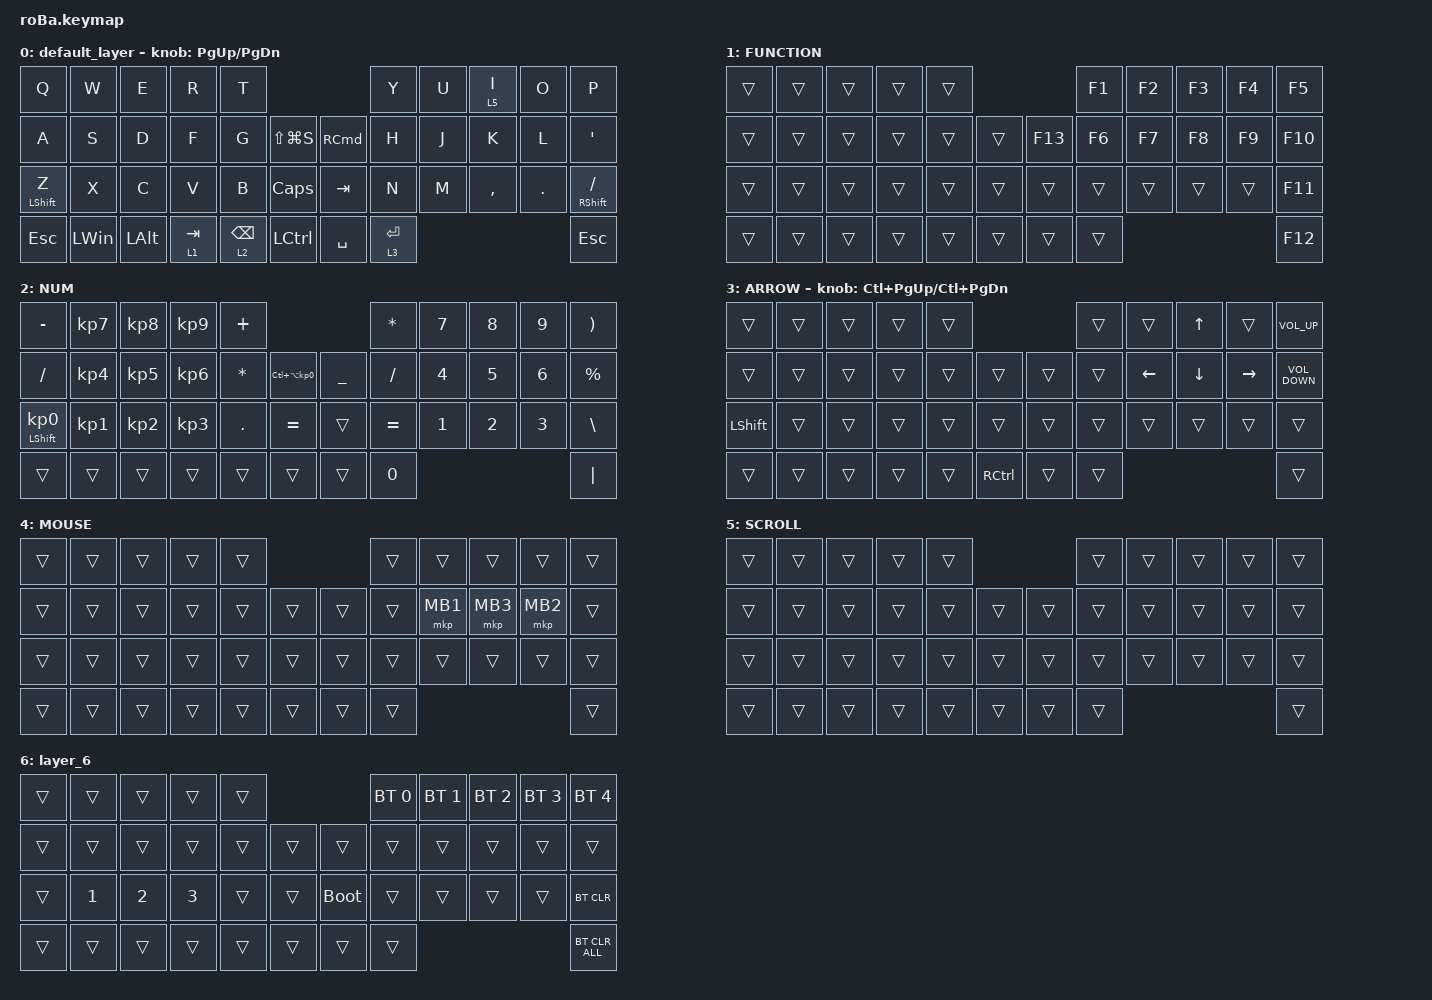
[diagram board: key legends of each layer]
#include <behaviors.dtsi>
#include <dt-bindings/zmk/bt.h>
#include <dt-bindings/zmk/keys.h>
#include <dt-bindings/zmk/pointing.h>

#define MOUSE 4
#define SCROLL 5
#define NUM 6

&mt {
    flavor = "balanced";
    quick-tap-ms = <0>;
};

/ {
    combos {
        compatible = "zmk,combos";

        tab {
            bindings = <&kp TAB>;
            key-positions = <11 12>;
        };

        shift_tab {
            bindings = <&kp LS(TAB)>;
            key-positions = <12 13>;
        };

        muhennkann {
            bindings = <&to_layer_0 INT_MUHENKAN>;
            key-positions = <11 10>;
        };

        double_quotation {
            bindings = <&kp DOUBLE_QUOTES>;
            key-positions = <20 21>;
        };

        eq {
            bindings = <&kp EQUAL>;
            key-positions = <24 25>;
        };

        MB1 {
            bindings = <&mkp MB1>;
            key-positions = <18 19>;
        };

        MB2 {
            bindings = <&mkp MB2>;
            key-positions = <19 20>;
        };
    };

    macros {
        to_layer_0: to_layer_0 {
            compatible = "zmk,behavior-macro-one-param";
            #binding-cells = <1>;
            bindings = <&to 0 &macro_param_1to1 &kp MACRO_PLACEHOLDER>;
            label = "TO_LAYER_0";
        };
    };

    behaviors {
        lt_to_layer_0: lt_to_layer_0 {
            compatible = "zmk,behavior-hold-tap";
            label = "LAYER_TAP_TO_0";
            bindings = <&mo>, <&to_layer_0>;

            #binding-cells = <2>;
            tapping-term-ms = <200>;
        };
    };

    keymap {
        compatible = "zmk,keymap";

        default_layer {
            bindings = <
&kp Q             &kp W         &kp E         &kp R                 &kp T                                                  &kp Y        &kp U  &lt 5 I    &kp O    &kp P
&kp A             &kp S         &kp D         &kp F                 &kp G            &kp LS(LG(S))      &kp RIGHT_COMMAND  &kp H        &kp J  &kp K      &kp L    &kp SQT
&mt LEFT_SHIFT Z  &kp X         &kp C         &kp V                 &kp B            &kp CAPS           &kp TAB            &kp N        &kp M  &kp COMMA  &kp DOT  &mt RIGHT_SHIFT SLASH
&kp ESCAPE        &kp LEFT_WIN  &kp LEFT_ALT  &lt_to_layer_0 1 TAB  &lt 2 BACKSPACE  &kp LCTRL          &kp SPACE          &lt 3 ENTER                             &kp ESCAPE
            >;

            sensor-bindings = <&inc_dec_kp PG_UP PAGE_DOWN>;
        };

        FUNCTION {
            bindings = <
&trans  &trans  &trans  &trans  &trans                       &kp F1  &kp F2  &kp F3  &kp F4  &kp F5
&trans  &trans  &trans  &trans  &trans  &trans      &kp F13  &kp F6  &kp F7  &kp F8  &kp F9  &kp F10
&trans  &trans  &trans  &trans  &trans  &trans      &trans   &trans  &trans  &trans  &trans  &kp F11
&trans  &trans  &trans  &trans  &trans  &trans      &trans   &trans                          &kp F12
            >;
        };

        NUM {
            bindings = <
&kp MINUS                   &kp KP_NUMBER_7  &kp KP_NUMBER_8  &kp KP_NUMBER_9  &kp PLUS                                                   &kp ASTRK  &kp N7        &kp N8        &kp N9        &kp RIGHT_PARENTHESIS
&kp SLASH                   &kp KP_NUMBER_4  &kp KP_NUMBER_5  &kp KP_NUMBER_6  &kp ASTERISK  &kp LC(LA(KP_NUMBER_0))      &kp UNDERSCORE  &kp SLASH  &kp NUMBER_4  &kp N5        &kp NUMBER_6  &kp PERCENT
&mt LEFT_SHIFT KP_NUMBER_0  &kp KP_NUMBER_1  &kp KP_NUMBER_2  &kp KP_NUMBER_3  &kp PERIOD    &kp EQUAL                    &trans          &kp EQUAL  &kp NUMBER_1  &kp NUMBER_2  &kp NUMBER_3  &kp BACKSLASH
&trans                      &trans           &trans           &trans           &trans        &trans                       &trans          &kp N0                                               &kp PIPE
            >;
        };

        ARROW {
            bindings = <
&trans          &trans  &trans  &trans  &trans                         &trans  &trans          &kp UP_ARROW    &trans           &kp C_VOLUME_UP
&trans          &trans  &trans  &trans  &trans  &trans         &trans  &trans  &kp LEFT_ARROW  &kp DOWN_ARROW  &kp RIGHT_ARROW  &kp C_VOLUME_DOWN
&kp LEFT_SHIFT  &trans  &trans  &trans  &trans  &trans         &trans  &trans  &trans          &trans          &trans           &trans
&trans          &trans  &trans  &trans  &trans  &kp RCTRL      &trans  &trans                                                   &trans
            >;

            sensor-bindings = <&inc_dec_kp LC(PAGE_UP) LC(PAGE_DOWN)>;
        };

        MOUSE {
            bindings = <
&trans  &trans  &trans  &trans  &trans                      &trans  &trans    &trans    &trans    &trans
&trans  &trans  &trans  &trans  &trans  &trans      &trans  &trans  &mkp MB1  &mkp MB3  &mkp MB2  &trans
&trans  &trans  &trans  &trans  &trans  &trans      &trans  &trans  &trans    &trans    &trans    &trans
&trans  &trans  &trans  &trans  &trans  &trans      &trans  &trans                                &trans
            >;
        };

        SCROLL {
            bindings = <
&trans  &trans  &trans  &trans  &trans                      &trans  &trans  &trans  &trans  &trans
&trans  &trans  &trans  &trans  &trans  &trans      &trans  &trans  &trans  &trans  &trans  &trans
&trans  &trans  &trans  &trans  &trans  &trans      &trans  &trans  &trans  &trans  &trans  &trans
&trans  &trans  &trans  &trans  &trans  &trans      &trans  &trans                          &trans
            >;
        };

        layer_6 {
            bindings = <
&trans  &trans        &trans        &trans        &trans                           &bt BT_SEL 0  &bt BT_SEL 1  &bt BT_SEL 2  &bt BT_SEL 3  &bt BT_SEL 4
&trans  &trans        &trans        &trans        &trans  &trans      &trans       &trans        &trans        &trans        &trans        &trans
&trans  &kp NUMBER_1  &kp NUMBER_2  &kp NUMBER_3  &trans  &trans      &bootloader  &trans        &trans        &trans        &trans        &bt BT_CLR
&trans  &trans        &trans        &trans        &trans  &trans      &trans       &trans                                                  &bt BT_CLR_ALL
            >;
        };
    };
};
